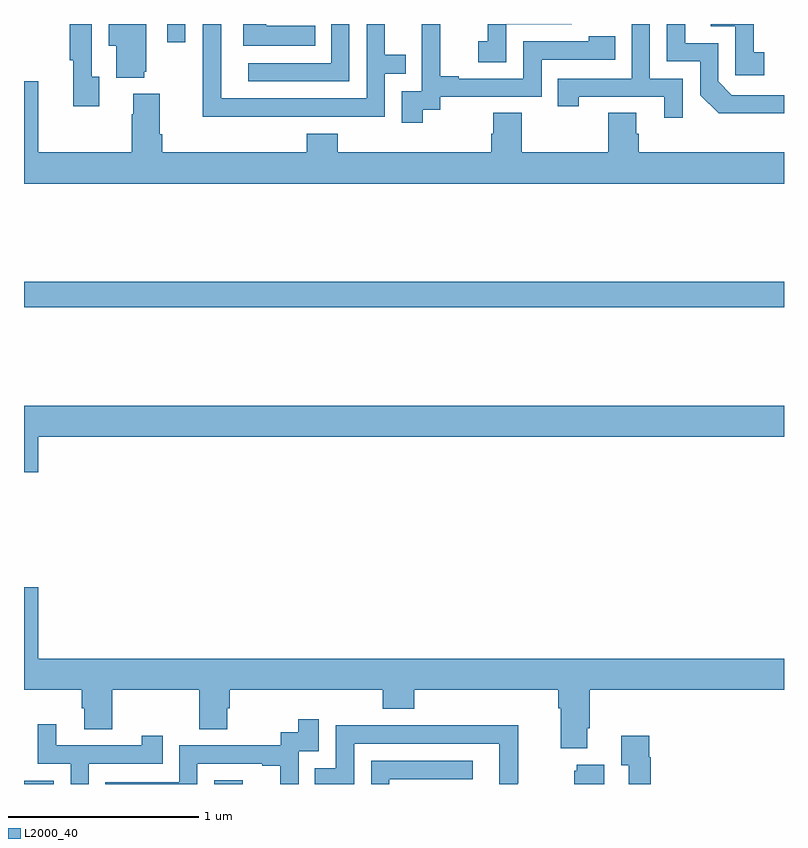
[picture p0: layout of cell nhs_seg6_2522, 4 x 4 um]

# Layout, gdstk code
import gdstk
lib = gdstk.Library(unit=1e-6, precision=1e-09)
def R(c, l, rs):  # rectangles x0, y0, x1, y1
    for r in rs: c.add(gdstk.rectangle(r[:2], r[2:], *l))
def P(c, l, *ps):  # polygons
    for p in ps: c.add(gdstk.Polygon(p, *l))
L2000_40 = (2000, 40)

nhs_seg6_2522 = lib.new_cell('nhs_seg6_2522')
R(nhs_seg6_2522, L2000_40, [(261,953.5,261.156,953.517), (262.002,953.5,262.15,953.521), (261,956.008,265,956.144), (261.753,957.405,261.849,957.5)])
P(nhs_seg6_2522, L2000_40, [(264.895,957.351),(264.842,957.351),(264.842,957.5),(264.615,957.5),(264.615,957.489),(264.744,957.489),(264.744,957.231),(264.895,957.231)],
  [(262.403,957.012),(262.899,957.012),(262.899,957.237),(263.009,957.237),(263.009,957.338),(262.899,957.338),(262.899,957.5),(262.803,957.5),(262.803,957.108),(262.038,957.108),(262.038,957.5),(261.942,957.5),(261.942,957.317),(261.94,957.317),(261.94,957.011),(262.403,957.011)],
  [(263.098,957.049),(263.19,957.049),(263.19,957.117),(263.724,957.117),(263.724,957.312),(264.113,957.312),(264.113,957.435),(263.973,957.435),(263.973,957.408),(263.628,957.408),(263.628,957.213),(263.287,957.213),(263.287,957.226),(263.192,957.226),(263.192,957.5),(263.093,957.5),(263.093,957.377),(263.094,957.377),(263.094,957.147),(262.989,957.147),(262.989,956.979),(263.098,956.979)],
  [(261.397,957.222),(261.357,957.222),(261.357,957.5),(261.241,957.5),(261.241,957.31),(261.26,957.31),(261.26,957.066),(261.397,957.066)],
  [(261.632,957.249),(261.643,957.249),(261.643,957.5),(261.446,957.5),(261.446,957.386),(261.485,957.386),(261.485,957.218),(261.632,957.218)],
  [(265,957.126),(264.726,957.126),(264.654,957.198),(264.654,957.399),(264.481,957.399),(264.481,957.5),(264.384,957.5),(264.384,957.303),(264.558,957.303),(264.558,957.126),(264.656,957.029),(265,957.029)],
  [(263.538,957.498),(263.88,957.498),(263.882,957.5),(263.44,957.5),(263.44,957.409),(263.391,957.409),(263.391,957.3),(263.538,957.3)],
  [(264.468,957.213),(264.294,957.213),(264.294,957.5),(264.198,957.5),(264.198,957.213),(263.809,957.213),(263.809,957.066),(263.92,957.066),(263.92,957.117),(264.371,957.117),(264.371,957.006),(264.468,957.006)],
  [(262.713,957.5),(262.617,957.5),(262.617,957.294),(262.179,957.294),(262.179,957.198),(262.713,957.198)],
  [(262.532,957.49),(262.275,957.49),(262.275,957.5),(262.154,957.5),(262.154,957.386),(262.532,957.386)],
  [(265,956.824),(264.236,956.824),(264.236,956.922),(264.223,956.922),(264.223,957.032),(264.076,957.032),(264.076,956.824),(263.619,956.824),(263.619,957.032),(263.471,957.032),(263.471,956.922),(263.459,956.922),(263.459,956.824),(262.652,956.824),(262.652,956.923),(262.487,956.923),(262.487,956.824),(261.728,956.824),(261.728,956.92),(261.715,956.92),(261.715,957.133),(261.575,957.133),(261.575,957.026),(261.568,957.026),(261.568,956.824),(261.076,956.824),(261.076,957.199),(261,957.199),(261,956.66),(265,956.66)],
  [(261.076,955.328),(265,955.328),(265,955.492),(261,955.492),(261,955.14),(261.076,955.14)],
  [(261.076,954.535),(261,954.535),(261,953.996),(261.305,953.996),(261.305,953.898),(261.317,953.898),(261.317,953.788),(261.465,953.788),(261.465,953.996),(261.922,953.996),(261.922,953.788),(262.069,953.788),(262.069,953.898),(262.082,953.898),(262.082,953.996),(262.889,953.996),(262.889,953.897),(263.054,953.897),(263.054,953.996),(263.813,953.996),(263.813,953.9),(263.825,953.9),(263.825,953.687),(263.965,953.687),(263.965,953.794),(263.978,953.794),(263.978,953.996),(265,953.996),(265,954.16),(261.076,954.16)],
  [(261.912,953.607),(262.253,953.607),(262.253,953.595),(262.349,953.595),(262.349,953.5),(262.446,953.5),(262.446,953.673),(262.551,953.673),(262.551,953.842),(262.443,953.842),(262.443,953.772),(262.35,953.772),(262.35,953.703),(261.816,953.703),(261.816,953.508),(261.427,953.508),(261.427,953.5),(261.912,953.5)],
  [(261.342,953.607),(261.731,953.607),(261.731,953.755),(261.62,953.755),(261.62,953.703),(261.169,953.703),(261.169,953.815),(261.072,953.815),(261.072,953.607),(261.246,953.607),(261.246,953.5),(261.342,953.5)],
  [(262.737,953.712),(263.502,953.712),(263.502,953.5),(263.598,953.5),(263.598,953.503),(263.601,953.503),(263.601,953.81),(263.137,953.81),(263.137,953.808),(262.641,953.808),(262.641,953.583),(262.531,953.583),(262.531,953.5),(262.737,953.5)],
  [(264.299,953.642),(264.292,953.642),(264.292,953.755),(264.143,953.755),(264.143,953.599),(264.183,953.599),(264.183,953.5),(264.299,953.5)],
  [(262.923,953.526),(263.362,953.526),(263.362,953.622),(262.827,953.622),(262.827,953.5),(262.923,953.5)],
  [(264.055,953.602),(263.909,953.602),(263.909,953.571),(263.897,953.571),(263.897,953.5),(264.055,953.5)])

lib.write_gds('nhs_seg6_2522.gds')
